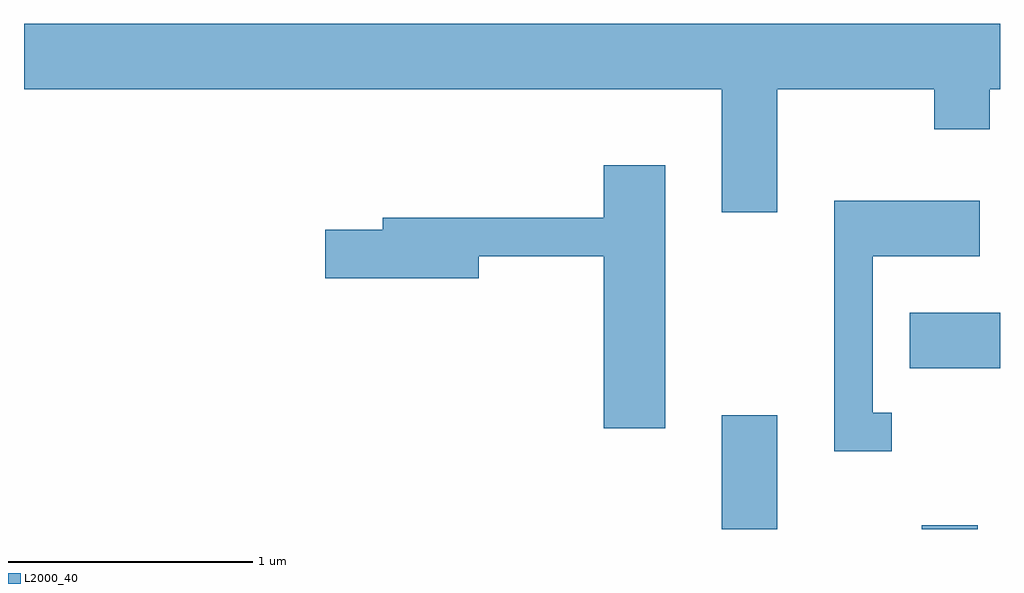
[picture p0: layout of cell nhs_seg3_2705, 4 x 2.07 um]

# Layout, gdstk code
import gdstk
lib = gdstk.Library(unit=1e-6, precision=1e-09)
def R(c, l, rs):  # rectangles x0, y0, x1, y1
    for r in rs: c.add(gdstk.rectangle(r[:2], r[2:], *l))
def P(c, l, *ps):  # polygons
    for p in ps: c.add(gdstk.Polygon(p, *l))
L2000_40 = (2000, 40)

nhs_seg3_2705 = lib.new_cell('nhs_seg3_2705')
R(nhs_seg3_2705, L2000_40, [(266.471,1221.892,266.699,1222.359), (267.291,1221.892,267.519,1221.909), (267.241,1222.551,267.611,1222.779)])
P(nhs_seg3_2705, L2000_40, [(266.699,1223.696),(267.341,1223.696),(267.341,1223.531),(267.569,1223.531),(267.569,1223.696),(267.611,1223.696),(267.611,1223.964),(263.611,1223.964),(263.611,1223.696),(266.471,1223.696),(266.471,1223.191),(266.699,1223.191)],
  [(266.239,1223.384),(265.986,1223.384),(265.986,1223.169),(265.081,1223.169),(265.081,1223.119),(264.846,1223.119),(264.846,1222.921),(265.474,1222.921),(265.474,1223.011),(265.986,1223.011),(265.986,1222.306),(266.239,1222.306)],
  [(267.168,1222.369),(267.089,1222.369),(267.089,1223.011),(267.529,1223.011),(267.529,1223.239),(266.931,1223.239),(266.931,1222.211),(267.168,1222.211)])

lib.write_gds('nhs_seg3_2705.gds')
